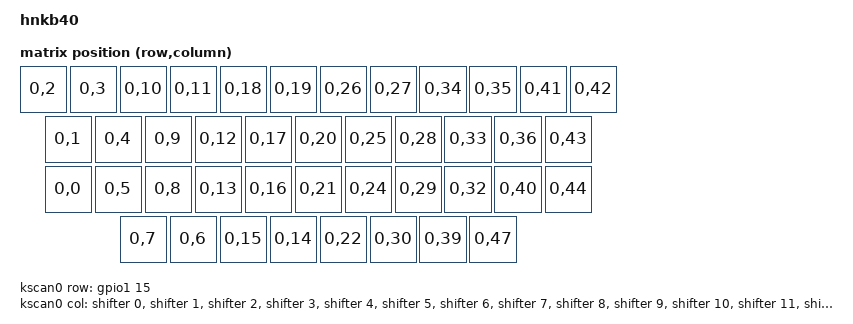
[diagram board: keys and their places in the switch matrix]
/*
 * Copyright (c) 2021 Nick Winans
 *
 * SPDX-License-Identifier: MIT
 */

/dts-v1/;
#include <nordic/nrf52840_qiaa.dtsi>
#include <common/nordic/nrf52840_uf2_boot_mode.dtsi>

#include <dt-bindings/led/led.h>
#include <dt-bindings/zmk/matrix_transform.h>

#include <layouts/common/60percent/ansi.dtsi>

#include "hnkb40-pinctrl.dtsi"

/ {
    model = "hnkb40";
    compatible = "nordic,nrf52840-qiaa";

    chosen {
        zephyr,code-partition = &code_partition;
        zephyr,sram = &sram0;
        zephyr,flash = &flash0;
        zmk,battery = &vbatt;
        zmk,kscan = &kscan0;
        zmk,physical-layout = &layout_60_ansi;
        zmk,underglow = &led_strip;
    };

    default_transform: keymap_transform_0 {
        compatible = "zmk,matrix-transform";
        columns = <48>;
        rows = <1>;
        map = <
RC(0,2) RC(0,3) RC(0,10) RC(0,11) RC(0,18) RC(0,19) RC(0,26) RC(0,27) RC(0,34) RC(0,35) RC(0,41) RC(0,42)
RC(0,1)    RC(0,4) RC(0,9) RC(0,12) RC(0,17) RC(0,20) RC(0,25) RC(0,28) RC(0,33) RC(0,36)        RC(0,43)
RC(0,0)     RC(0,5) RC(0,8) RC(0,13) RC(0,16) RC(0,21) RC(0,24) RC(0,29) RC(0,32) RC(0,40)       RC(0,44)
    RC(0,7) RC(0,6) RC(0,15)         RC(0,14)             RC(0,22)             RC(0,30) RC(0,39) RC(0,47)
        >;
    };

    kscan0: kscan {
        compatible = "zmk,kscan-gpio-matrix";
        status = "okay";
        wakeup-source;
        diode-direction = "col2row";

        row-gpios = <&gpio1 15 (GPIO_ACTIVE_HIGH | GPIO_PULL_DOWN)>;

        col-gpios
            = <&shifter 0 GPIO_ACTIVE_HIGH>, <&shifter 1 GPIO_ACTIVE_HIGH>, <&shifter 2 GPIO_ACTIVE_HIGH>, <&shifter 3 GPIO_ACTIVE_HIGH>
            , <&shifter 4 GPIO_ACTIVE_HIGH>, <&shifter 5 GPIO_ACTIVE_HIGH>, <&shifter 6 GPIO_ACTIVE_HIGH>, <&shifter 7 GPIO_ACTIVE_HIGH>
            , <&shifter 8 GPIO_ACTIVE_HIGH>, <&shifter 9 GPIO_ACTIVE_HIGH>, <&shifter 10 GPIO_ACTIVE_HIGH>, <&shifter 11 GPIO_ACTIVE_HIGH>
            , <&shifter 12 GPIO_ACTIVE_HIGH>, <&shifter 13 GPIO_ACTIVE_HIGH>, <&shifter 14 GPIO_ACTIVE_HIGH>, <&shifter 15 GPIO_ACTIVE_HIGH>
            , <&shifter 16 GPIO_ACTIVE_HIGH>, <&shifter 17 GPIO_ACTIVE_HIGH>, <&shifter 18 GPIO_ACTIVE_HIGH>, <&shifter 19 GPIO_ACTIVE_HIGH>
            , <&shifter 20 GPIO_ACTIVE_HIGH>, <&shifter 21 GPIO_ACTIVE_HIGH>, <&shifter 22 GPIO_ACTIVE_HIGH>, <&shifter 23 GPIO_ACTIVE_HIGH>
            , <&shifter 24 GPIO_ACTIVE_HIGH>, <&shifter 25 GPIO_ACTIVE_HIGH>, <&shifter 26 GPIO_ACTIVE_HIGH>, <&shifter 27 GPIO_ACTIVE_HIGH>
            , <&shifter 28 GPIO_ACTIVE_HIGH>, <&shifter 29 GPIO_ACTIVE_HIGH>, <&shifter 30 GPIO_ACTIVE_HIGH>, <&shifter 31 GPIO_ACTIVE_HIGH>
            , <&shifter 32 GPIO_ACTIVE_HIGH>, <&shifter 33 GPIO_ACTIVE_HIGH>, <&shifter 34 GPIO_ACTIVE_HIGH>, <&shifter 35 GPIO_ACTIVE_HIGH>
            , <&shifter 36 GPIO_ACTIVE_HIGH>, <&shifter 37 GPIO_ACTIVE_HIGH>, <&shifter 38 GPIO_ACTIVE_HIGH>, <&shifter 39 GPIO_ACTIVE_HIGH>
            , <&shifter 40 GPIO_ACTIVE_HIGH>, <&shifter 41 GPIO_ACTIVE_HIGH>, <&shifter 42 GPIO_ACTIVE_HIGH>, <&shifter 43 GPIO_ACTIVE_HIGH>
            , <&shifter 44 GPIO_ACTIVE_HIGH>, <&shifter 45 GPIO_ACTIVE_HIGH>, <&shifter 46 GPIO_ACTIVE_HIGH>, <&shifter 47 GPIO_ACTIVE_HIGH>
            ;
    };

    vbatt: vbatt {
        compatible = "zmk,battery-voltage-divider";
        status = "okay";
        io-channels = <&adc 2>;
        output-ohms = <2000000>;
        full-ohms = <(2000000 + 806000)>;
    };

    EXT_POWER {
        compatible = "zmk,ext-power-generic";
        status = "okay";
        control-gpios = <&gpio1 11 GPIO_ACTIVE_HIGH>;
    };
};

/* Top-level hardware enabling */

&adc { status = "okay"; };
&gpiote { status = "okay"; };
&gpio0 { status = "okay"; };
&gpio1 { status = "okay"; };

&spi0 {
    status = "okay";
    pinctrl-0 = <&spi0_default>;
    pinctrl-1 = <&spi0_sleep>;
    pinctrl-names = "default", "sleep";
    cs-gpios = <&gpio1 12 GPIO_ACTIVE_LOW>;

    shifter: gpio_595@0 {
        compatible = "zmk,gpio-595";
        status = "okay";
        reg = <0>;
        spi-max-frequency = <2000000>;
        gpio-controller;
        #gpio-cells = <2>;
        ngpios = <48>;
    };
};

&spi3 {
    status = "okay";
    pinctrl-0 = <&spi3_default>;
    pinctrl-1 = <&spi3_sleep>;
    pinctrl-names = "default", "sleep";

    led_strip: ws2812@0 {
        compatible = "worldsemi,ws2812-spi";
        status = "okay";
        reg = <0>;
        spi-max-frequency = <4000000>;
        chain-length = <12>;
        spi-one-frame = <0x70>;
        spi-zero-frame = <0x40>;
        color-mapping = <LED_COLOR_ID_GREEN LED_COLOR_ID_RED LED_COLOR_ID_BLUE>;
    };
};

&usbd { status = "okay"; };

&flash0 {
    partitions {
        compatible = "fixed-partitions";
        #address-cells = <1>;
        #size-cells = <1>;

        sd_partition: partition@0 { reg = <0x00000000 0x00001000>; };
        code_partition: partition@1000 { reg = <0x00001000 0x000d3000>; };
        storage_partition: partition@d4000 { reg = <0x000d4000 0x00020000>; };
        boot_partition: partition@f4000 { reg = <0x000f4000 0x0000c000>; };
    };
};

&layout_60_ansi {
    transform = <&default_transform>;
};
